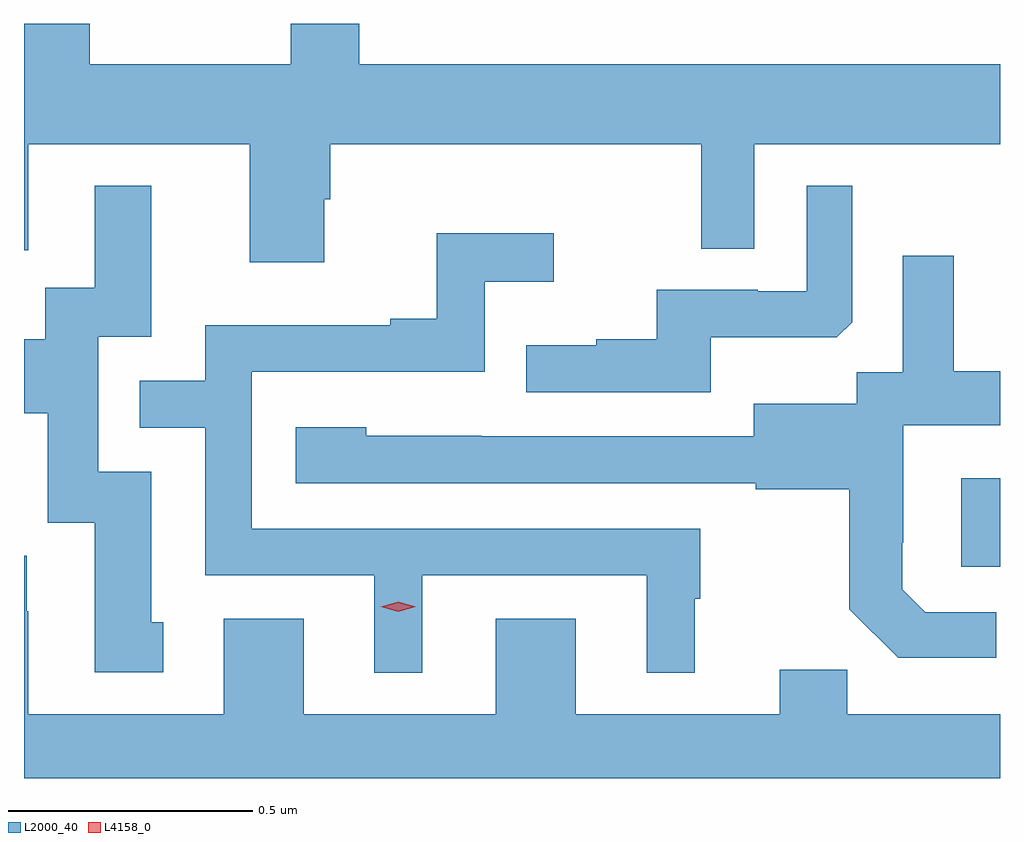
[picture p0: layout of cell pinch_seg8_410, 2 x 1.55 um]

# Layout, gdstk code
import gdstk
lib = gdstk.Library(unit=1e-6, precision=1e-09)
def R(c, l, rs):  # rectangles x0, y0, x1, y1
    for r in rs: c.add(gdstk.rectangle(r[:2], r[2:], *l))
def P(c, l, *ps):  # polygons
    for p in ps: c.add(gdstk.Polygon(p, *l))
L2000_40 = (2000, 40)
L4158_0 = (4158, 0)

pinch_seg8_410 = lib.new_cell('pinch_seg8_410')
R(pinch_seg8_410, L2000_40, [(607.319,1082.334,607.398,1082.515)])
P(pinch_seg8_410, L2000_40, [(606.013,1083.087),(606.026,1083.087),(606.026,1083.2),(606.786,1083.2),(606.786,1082.986),(606.894,1082.986),(606.894,1083.2),(607.398,1083.2),(607.398,1083.364),(606.085,1083.364),(606.085,1083.447),(605.945,1083.447),(605.945,1083.364),(605.533,1083.364),(605.533,1083.447),(605.398,1083.447),(605.398,1082.982),(605.407,1082.982),(605.407,1083.2),(605.861,1083.2),(605.861,1082.958),(606.013,1082.958)],
  [(606.805,1082.804),(607.063,1082.804),(607.095,1082.835),(607.095,1083.115),(607.002,1083.115),(607.002,1082.898),(606.902,1082.898),(606.902,1082.901),(606.695,1082.901),(606.695,1082.8),(606.571,1082.8),(606.571,1082.788),(606.427,1082.788),(606.427,1082.691),(606.805,1082.691)],
  [(605.683,1082.22),(605.659,1082.22),(605.659,1082.529),(605.55,1082.529),(605.55,1082.805),(605.659,1082.805),(605.659,1083.115),(605.543,1083.115),(605.543,1082.906),(605.442,1082.906),(605.442,1082.8),(605.398,1082.8),(605.398,1082.648),(605.447,1082.648),(605.447,1082.424),(605.543,1082.424),(605.543,1082.118),(605.683,1082.118)],
  [(606.214,1082.316),(606.674,1082.316),(606.674,1082.117),(606.772,1082.117),(606.772,1082.268),(606.784,1082.268),(606.784,1082.412),(605.865,1082.412),(605.865,1082.733),(606.342,1082.733),(606.342,1082.918),(606.484,1082.918),(606.484,1083.017),(606.244,1083.017),(606.244,1082.842),(606.149,1082.842),(606.149,1082.829),(605.769,1082.829),(605.769,1082.715),(605.635,1082.715),(605.635,1082.619),(605.769,1082.619),(605.769,1082.316),(606.116,1082.316),(606.116,1082.117),(606.214,1082.117)],
  [(607.39,1082.241),(607.245,1082.241),(607.198,1082.288),(607.198,1082.383),(607.2,1082.383),(607.2,1082.624),(607.398,1082.624),(607.398,1082.734),(607.303,1082.734),(607.303,1082.971),(607.199,1082.971),(607.199,1082.732),(607.104,1082.732),(607.104,1082.668),(606.893,1082.668),(606.893,1082.601),(606.335,1082.601),(606.335,1082.602),(606.099,1082.602),(606.099,1082.62),(605.955,1082.62),(605.955,1082.505),(606.897,1082.505),(606.897,1082.493),(607.089,1082.493),(607.089,1082.247),(607.189,1082.147),(607.39,1082.147)],
  [(607.398,1082.032),(607.085,1082.032),(607.085,1082.123),(606.947,1082.123),(606.947,1082.032),(606.529,1082.032),(606.529,1082.227),(606.365,1082.227),(606.365,1082.032),(605.971,1082.032),(605.971,1082.227),(605.807,1082.227),(605.807,1082.032),(605.407,1082.032),(605.407,1082.243),(605.404,1082.243),(605.404,1082.356),(605.398,1082.356),(605.398,1081.9),(607.398,1081.9)])
P(pinch_seg8_410, L4158_0, [(606.165,1082.242),(606.129,1082.252),(606.129,1082.252),(606.129,1082.252),(606.165,1082.262),(606.201,1082.252),(606.201,1082.252),(606.201,1082.252)])

lib.write_gds('pinch_seg8_410.gds')
